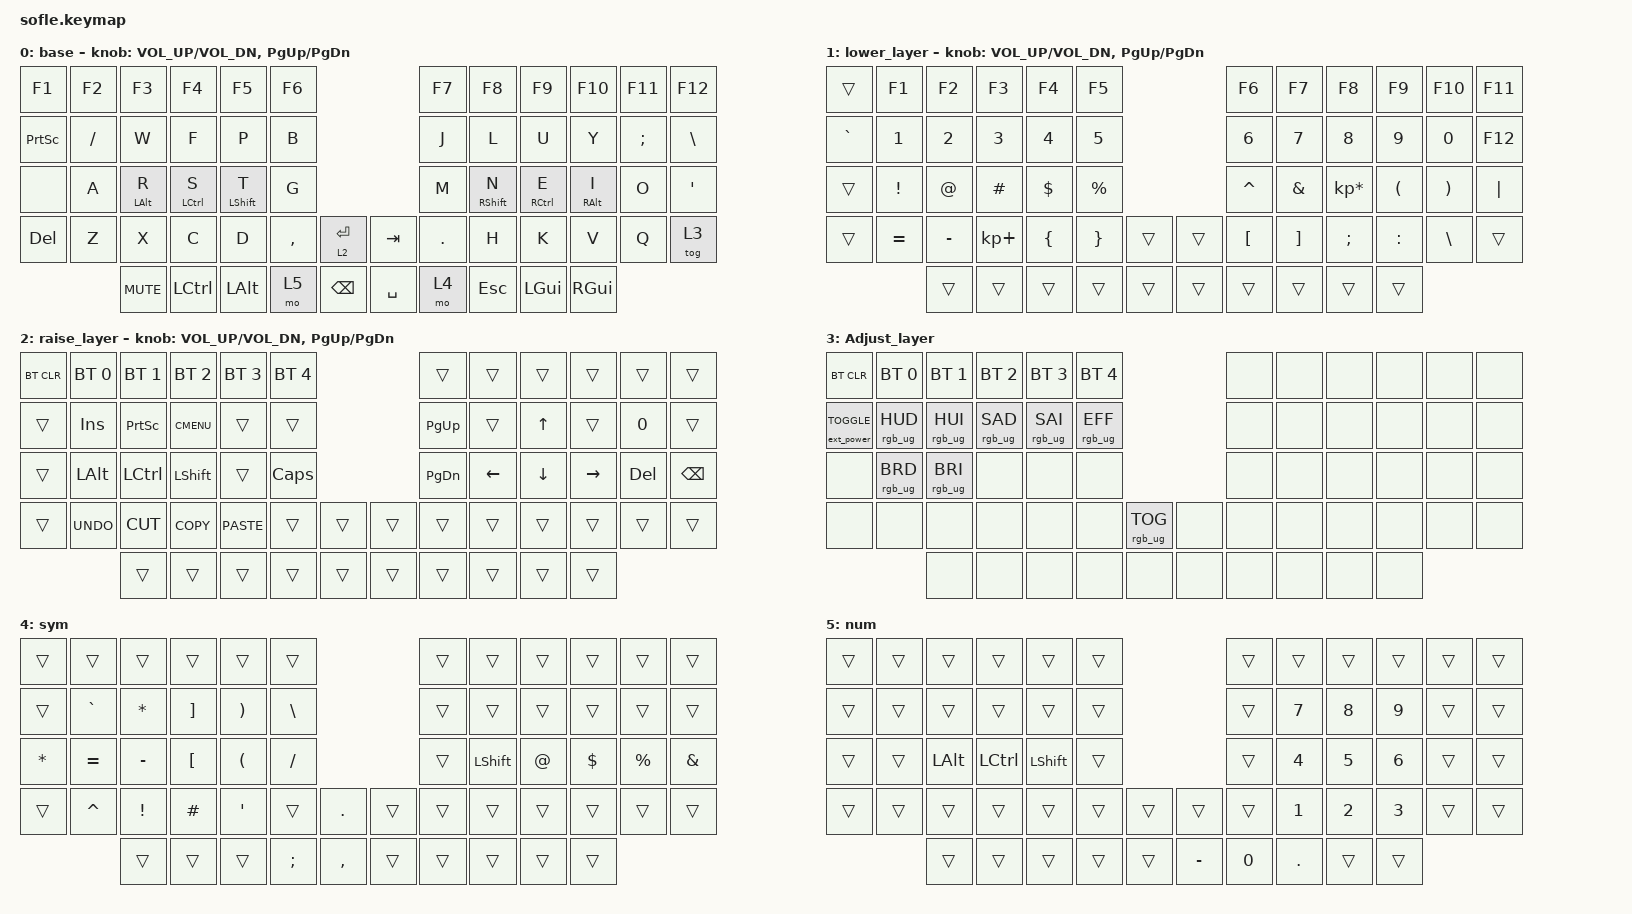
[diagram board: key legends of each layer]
/*
 * Copyright (c) 2020 The ZMK Contributors
 *
 * SPDX-License-Identifier: MIT
 */

#include <behaviors.dtsi>
#include <dt-bindings/zmk/bt.h>
#include <dt-bindings/zmk/ext_power.h>
#include <dt-bindings/zmk/keys.h>
#include <dt-bindings/zmk/rgb.h>

#define BASE 0
#define LOWER 1
#define RAISE 2
#define ADJUST 3

/ {
    // Activate ADJUST layer by pressing raise and lower

    conditional_layers {
        compatible = "zmk,conditional-layers";

        adjust_layer {
            if-layers = <LOWER RAISE>;
            then-layer = <ADJUST>;
        };
    };

    keymap {
        compatible = "zmk,keymap";

        base {
            // ------------------------------------------------------------------------------------------------------------
            // |  `    |  1  |  2  |  3   |  4   |  5   |                   |  6   |  7    |  8    |  9   |   0   |       |
            // |  ESC  |  Q  |  W  |  E   |  R   |  T   |                   |  Y   |  U    |  I    |  O   |   P   | BKSPC |
            // |  TAB  |  A  |  S  |  D   |  F   |  G   |                   |  H   |  J    |  K    |  L   |   ;   |   '   |
            // | SHIFT |  Z  |  X  |  C   |  V   |  B   |  MUTE  |  |       |  N   |  M    |  ,    |  .   |   /   | SHIFT |
            //               | GUI | ALT  | CTRL | LOWER|  ENTER |  | SPACE | RAISE| CTRL  | ALT   | GUI  |

            bindings = <
&kp F1           &kp F2    &kp F3          &kp F4       &kp F5            &kp F6                                 &kp F7   &kp F8             &kp F9        &kp F10          &kp F11   &kp F12
&kp PRINTSCREEN  &kp FSLH  &kp W           &kp F        &kp P             &kp B                                  &kp J    &kp L              &kp U         &kp Y            &kp SEMI  &kp BSLH
&none            &kp A     &mt LEFT_ALT R  &mt LCTRL S  &mt LEFT_SHIFT T  &kp G                                  &kp M    &mt RIGHT_SHIFT N  &mt RCTRL E   &mt RIGHT_ALT I  &kp O     &kp SQT
&kp DEL          &kp Z     &kp X           &kp C        &kp D             &kp COMMA  &lt 2 ENTER      &kp TAB    &kp DOT  &kp H              &kp K         &kp V            &kp Q     &tog 3
                           &kp K_MUTE      &kp LCTRL    &kp LALT          &mo 5      &kp BACKSPACE    &kp SPACE  &mo 4    &kp ESC            &kp LEFT_GUI  &kp RGUI
            >;

            sensor-bindings = <&inc_dec_kp C_VOL_UP C_VOL_DN &inc_dec_kp PG_UP PG_DN>;
        };

        lower_layer {
            // TODO: Some binds are waiting for shifted keycode support.
            // ------------------------------------------------------------------------------------------------------------
            // |       |  F1 |  F2 |  F3  |  F4  |  F5  |                   |  F6  |  F7   |  F8   |  F9  |  F10  |  F11  |
            // | `     |   1 |   2 |   3  |   4  |   5  |                   |   6  |   7   |   8   |   9  |    0  |  F12  |
            // |       |  !  |  @  |  #   |  $   |  %   |                   |  ^   |  &    |  *    |  (   |   )   |   |   |
            // |       |  =  |  -  |  +   |  {   |  }   |        |  |       |  [   |  ]    |  ;    |  :   |   \   |       |
            //               |     |      |      |      |        |  |       |      |       |       |      |

            bindings = <
&trans     &kp F1     &kp F2     &kp F3       &kp F4    &kp F5                       &kp F6     &kp F7    &kp F8           &kp F9     &kp F10   &kp F11
&kp GRAVE  &kp N1     &kp N2     &kp N3       &kp N4    &kp N5                       &kp N6     &kp N7    &kp N8           &kp N9     &kp N0    &kp F12
&trans     &kp EXCL   &kp AT     &kp HASH     &kp DLLR  &kp PRCNT                    &kp CARET  &kp AMPS  &kp KP_MULTIPLY  &kp LPAR   &kp RPAR  &kp PIPE
&trans     &kp EQUAL  &kp MINUS  &kp KP_PLUS  &kp LBRC  &kp RBRC   &trans    &trans  &kp LBKT   &kp RBKT  &kp SEMI         &kp COLON  &kp BSLH  &trans
                      &trans     &trans       &trans    &trans     &trans    &trans  &trans     &trans    &trans           &trans
            >;

            sensor-bindings = <&inc_dec_kp C_VOL_UP C_VOL_DN &inc_dec_kp PG_UP PG_DN>;
        };

        raise_layer {
            // ------------------------------------------------------------------------------------------------------------
            // |BTCLR| BT1  | BT2  |  BT3  |  BT4  |  BT5 |                |      |      |       |      |       |       |
            // |     | INS  | PSCR | GUI   |       |      |                | PGUP |      |   ^   |      |       |       |
            // |     | ALT  | CTRL | SHIFT |       | CAPS |                | PGDN |   <- |   v   |  ->  |  DEL  | BKSPC |
            // |     | UNDO | CUT  | COPY  | PASTE |      |      |  |      |      |      |       |      |       |       |
            //              |      |       |       |      |      |  |      |      |      |       |      |

            bindings = <
&bt BT_CLR  &bt BT_SEL 0  &bt BT_SEL 1  &bt BT_SEL 2  &bt BT_SEL 3  &bt BT_SEL 4                    &trans     &trans    &trans    &trans     &trans   &trans
&trans      &kp INS       &kp PSCRN     &kp K_CMENU   &trans        &trans                          &kp PG_UP  &trans    &kp UP    &trans     &kp N0   &trans
&trans      &kp LALT      &kp LCTRL     &kp LSHFT     &trans        &kp CLCK                        &kp PG_DN  &kp LEFT  &kp DOWN  &kp RIGHT  &kp DEL  &kp BSPC
&trans      &kp K_UNDO    &kp K_CUT     &kp K_COPY    &kp K_PASTE   &trans        &trans    &trans  &trans     &trans    &trans    &trans     &trans   &trans
                          &trans        &trans        &trans        &trans        &trans    &trans  &trans     &trans    &trans    &trans
            >;

            sensor-bindings = <&inc_dec_kp C_VOL_UP C_VOL_DN &inc_dec_kp PG_UP PG_DN>;
        };

        // ------------------------------------------------------------------------------------------------------------
        // |BTCLR | BT1   | BT2   |  BT3  |  BT4  |  BT5  |                |      |      |       |      |       |       |
        // |EXTPWR|RGB_HUD|RGB_HUI|RGB_SAD|RGB_SAI|RGB_EFF|                |      |      |       |      |       |       |
        // |      |RGB_BRD|RGB_BRI|       |       |       |                |      |      |       |      |       |       |
        // |      |       |       |       |       |       |RGB_TOG| |      |      |      |       |      |       |       |
        //                |       |       |       |       |       | |      |      |      |       |      |

        Adjust_layer {
            bindings = <
&bt BT_CLR                       &bt BT_SEL 0     &bt BT_SEL 1     &bt BT_SEL 2     &bt BT_SEL 3     &bt BT_SEL 4                               &none  &none  &none  &none  &none  &none
&ext_power EXT_POWER_TOGGLE_CMD  &rgb_ug RGB_HUD  &rgb_ug RGB_HUI  &rgb_ug RGB_SAD  &rgb_ug RGB_SAI  &rgb_ug RGB_EFF                            &none  &none  &none  &none  &none  &none
&none                            &rgb_ug RGB_BRD  &rgb_ug RGB_BRI  &none            &none            &none                                      &none  &none  &none  &none  &none  &none
&none                            &none            &none            &none            &none            &none            &rgb_ug RGB_TOG    &none  &none  &none  &none  &none  &none  &none
                                                  &none            &none            &none            &none            &none              &none  &none  &none  &none  &none
            >;
        };

        sym {
            bindings = <
&trans        &trans     &trans        &trans             &trans            &trans                               &trans  &trans          &trans  &trans      &trans       &trans
&trans        &kp GRAVE  &kp ASTERISK  &kp RIGHT_BRACKET  &kp RPAR          &kp BACKSLASH                        &trans  &trans          &trans  &trans      &trans       &trans
&kp ASTERISK  &kp EQUAL  &kp MINUS     &kp LEFT_BRACKET   &kp LPAR          &kp SLASH                            &trans  &kp LEFT_SHIFT  &kp AT  &kp DOLLAR  &kp PERCENT  &kp AMPERSAND
&trans        &kp CARET  &kp EXCL      &kp HASH           &kp SINGLE_QUOTE  &trans         &kp PERIOD    &trans  &trans  &trans          &trans  &trans      &trans       &trans
                         &trans        &trans             &trans            &kp SEMICOLON  &kp COMMA     &trans  &trans  &trans          &trans  &trans
            >;
        };

        num {
            bindings = <
&trans  &trans  &trans        &trans     &trans      &trans                       &trans  &trans   &trans  &trans  &trans  &trans
&trans  &trans  &trans        &trans     &trans      &trans                       &trans  &kp N7   &kp N8  &kp N9  &trans  &trans
&trans  &trans  &kp LEFT_ALT  &kp LCTRL  &kp LSHIFT  &trans                       &trans  &kp N4   &kp N5  &kp N6  &trans  &trans
&trans  &trans  &trans        &trans     &trans      &trans  &trans    &trans     &trans  &kp N1   &kp N2  &kp N3  &trans  &trans
                &trans        &trans     &trans      &trans  &trans    &kp MINUS  &kp N0  &kp DOT  &trans  &trans
            >;
        };
    };
};
